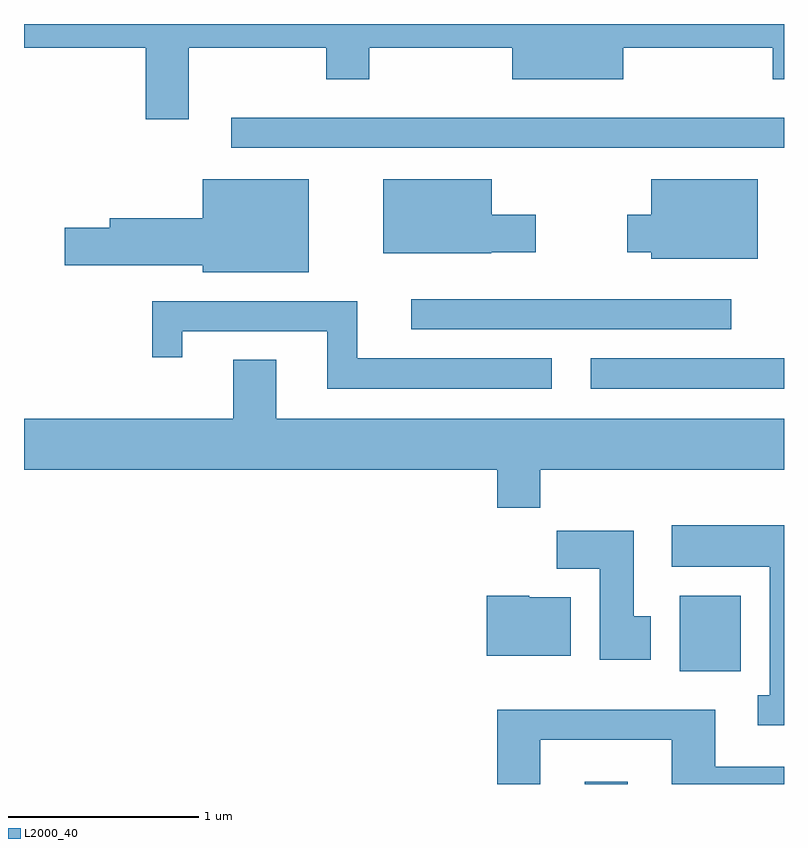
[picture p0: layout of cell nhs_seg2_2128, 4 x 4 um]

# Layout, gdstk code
import gdstk
lib = gdstk.Library(unit=1e-6, precision=1e-09)
def R(c, l, rs):  # rectangles x0, y0, x1, y1
    for r in rs: c.add(gdstk.rectangle(r[:2], r[2:], *l))
def P(c, l, *ps):  # polygons
    for p in ps: c.add(gdstk.Polygon(p, *l))
L2000_40 = (2000, 40)

nhs_seg2_2128 = lib.new_cell('nhs_seg2_2128')
R(nhs_seg2_2128, L2000_40, [(250.561,1017.802,250.789,1017.814), (251.061,1018.396,251.384,1018.794), (250.593,1019.881,251.611,1020.044), (249.648,1020.196,251.333,1020.354), (248.703,1021.151,251.611,1021.309)])
P(nhs_seg2_2128, L2000_40, [(248.479,1021.676),(249.201,1021.676),(249.201,1021.511),(249.429,1021.511),(249.429,1021.676),(250.181,1021.676),(250.181,1021.511),(250.764,1021.511),(250.764,1021.676),(251.551,1021.676),(251.551,1021.511),(251.611,1021.511),(251.611,1021.802),(247.611,1021.802),(247.611,1021.676),(248.251,1021.676),(248.251,1021.301),(248.479,1021.301)],
  [(250.07,1020.601),(250.304,1020.601),(250.304,1020.799),(250.074,1020.799),(250.074,1020.984),(249.501,1020.984),(249.501,1020.596),(250.07,1020.596)],
  [(249.109,1020.984),(248.551,1020.984),(248.551,1020.779),(248.061,1020.779),(248.061,1020.729),(247.826,1020.729),(247.826,1020.531),(248.551,1020.531),(248.551,1020.496),(249.109,1020.496)],
  [(251.474,1020.984),(250.911,1020.984),(250.911,1020.799),(250.786,1020.799),(250.786,1020.601),(250.911,1020.601),(250.911,1020.566),(251.474,1020.566)],
  [(250.388,1020.044),(249.364,1020.044),(249.364,1020.344),(248.286,1020.344),(248.286,1020.048),(248.444,1020.048),(248.444,1020.186),(249.206,1020.186),(249.206,1019.881),(250.388,1019.881)],
  [(250.329,1019.456),(251.611,1019.456),(251.611,1019.724),(248.939,1019.724),(248.939,1020.034),(248.711,1020.034),(248.711,1019.724),(247.611,1019.724),(247.611,1019.456),(250.101,1019.456),(250.101,1019.256),(250.329,1019.256)],
  [(251.611,1019.164),(251.021,1019.164),(251.021,1018.946),(251.536,1018.946),(251.536,1018.269),(251.473,1018.269),(251.473,1018.111),(251.611,1018.111)],
  [(250.909,1018.684),(250.819,1018.684),(250.819,1019.134),(250.416,1019.134),(250.416,1018.936),(250.641,1018.936),(250.641,1018.456),(250.909,1018.456)],
  [(250.489,1018.784),(250.27,1018.784),(250.27,1018.794),(250.046,1018.794),(250.046,1018.476),(250.489,1018.476)],
  [(250.329,1018.036),(251.021,1018.036),(251.021,1017.802),(251.611,1017.802),(251.611,1017.894),(251.249,1017.894),(251.249,1018.194),(250.101,1018.194),(250.101,1017.802),(250.329,1017.802)])

lib.write_gds('nhs_seg2_2128.gds')
